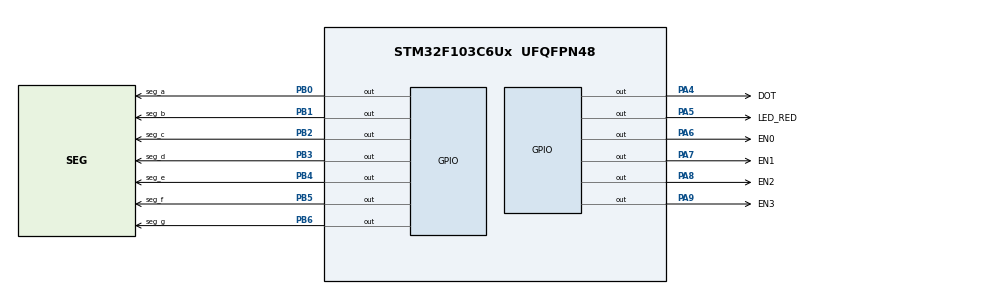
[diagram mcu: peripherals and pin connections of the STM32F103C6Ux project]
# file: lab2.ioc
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Mcu.Family=STM32F1
Mcu.Name=STM32F103C6Ux
Mcu.Package=UFQFPN48
NVIC.PriorityGroup=NVIC_PRIORITYGROUP_4
NVIC.TIM2_IRQn=true\:0\:0\:false\:false\:true\:true\:true
PA4.GPIO_Label=DOT
PA4.Signal=GPIO_Output
PA5.GPIO_Label=LED_RED
PA5.Signal=GPIO_Output
PA6.GPIO_Label=EN0
PA6.Signal=GPIO_Output
PA7.GPIO_Label=EN1
PA7.Signal=GPIO_Output
PA8.GPIO_Label=EN2
PA8.Signal=GPIO_Output
PA9.GPIO_Label=EN3
PA9.Signal=GPIO_Output
PB0.GPIO_Label=seg_a
PB0.Signal=GPIO_Output
PB1.GPIO_Label=seg_b
PB1.Signal=GPIO_Output
PB2.GPIO_Label=seg_c
PB2.Signal=GPIO_Output
PB3.GPIO_Label=seg_d
PB3.Signal=GPIO_Output
PB4.GPIO_Label=seg_e
PB4.Signal=GPIO_Output
PB5.GPIO_Label=seg_f
PB5.Signal=GPIO_Output
PB6.GPIO_Label=seg_g
PB6.Signal=GPIO_Output
ProjectManager.HeapSize=0x200
ProjectManager.StackSize=0x400
ProjectManager.TargetToolchain=STM32CubeIDE
RCC.APB1Freq_Value=8000000
RCC.APB2Freq_Value=8000000
TIM2.Period=9
TIM2.Prescaler=7999
VP_SYS_VS_ND.Mode=No_Debug
VP_TIM2_VS_ClockSourceINT.Mode=Internal
board=custom

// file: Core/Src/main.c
/* USER CODE BEGIN Header */
/**
  ******************************************************************************
  * @file           : main.c
  * @brief          : Main program body
  ******************************************************************************
  * @attention
  *
  * <h2><center>&copy; Copyright (c) 2025 STMicroelectronics.
  * All rights reserved.</center></h2>
  *
  * This software component is licensed by ST under BSD 3-Clause license,
  * the "License"; You may not use this file except in compliance with the
  * License. You may obtain a copy of the License at:
  *                        opensource.org/licenses/BSD-3-Clause
  *
  ******************************************************************************
  */
/* USER CODE END Header */
#include "main.h"

TIM_HandleTypeDef htim2;

void SystemClock_Config(void);
static void MX_GPIO_Init(void);
static void MX_TIM2_Init(void);

int main(void)
{

  /* MCU Configuration--------------------------------------------------------*/

  /* Reset of all peripherals, Initializes the Flash interface and the Systick. */
  HAL_Init();

  /* Configure the system clock */
  SystemClock_Config();

  /* Initialize all configured peripherals */
  MX_GPIO_Init();
  MX_TIM2_Init();
  /* USER CODE BEGIN 2 */
  HAL_TIM_Base_Start_IT (& htim2 ) ;
  /* USER CODE END 2 */

  /* Infinite loop */
  while (1)
  {

  }
}

void SystemClock_Config(void)
{
  RCC_OscInitTypeDef RCC_OscInitStruct = {0};
  RCC_ClkInitTypeDef RCC_ClkInitStruct = {0};

  /** Initializes the RCC Oscillators according to the specified parameters
  * in the RCC_OscInitTypeDef structure.
  */
  RCC_OscInitStruct.OscillatorType = RCC_OSCILLATORTYPE_HSI;
  RCC_OscInitStruct.HSIState = RCC_HSI_ON;
  RCC_OscInitStruct.HSICalibrationValue = RCC_HSICALIBRATION_DEFAULT;
  RCC_OscInitStruct.PLL.PLLState = RCC_PLL_NONE;
  if (HAL_RCC_OscConfig(&RCC_OscInitStruct) != HAL_OK)
  {
    Error_Handler();
  }
  /** Initializes the CPU, AHB and APB buses clocks
  */
  RCC_ClkInitStruct.ClockType = RCC_CLOCKTYPE_HCLK|RCC_CLOCKTYPE_SYSCLK
                              |RCC_CLOCKTYPE_PCLK1|RCC_CLOCKTYPE_PCLK2;
  RCC_ClkInitStruct.SYSCLKSource = RCC_SYSCLKSOURCE_HSI;
  RCC_ClkInitStruct.AHBCLKDivider = RCC_SYSCLK_DIV1;
  RCC_ClkInitStruct.APB1CLKDivider = RCC_HCLK_DIV1;
  RCC_ClkInitStruct.APB2CLKDivider = RCC_HCLK_DIV1;

  if (HAL_RCC_ClockConfig(&RCC_ClkInitStruct, FLASH_LATENCY_0) != HAL_OK)
  {
    Error_Handler();
  }
}

static void MX_TIM2_Init(void)
{

  TIM_ClockConfigTypeDef sClockSourceConfig = {0};
  TIM_MasterConfigTypeDef sMasterConfig = {0};

  htim2.Instance = TIM2;
  htim2.Init.Prescaler = 7999;
  htim2.Init.CounterMode = TIM_COUNTERMODE_UP;
  htim2.Init.Period = 9;
  htim2.Init.ClockDivision = TIM_CLOCKDIVISION_DIV1;
  htim2.Init.AutoReloadPreload = TIM_AUTORELOAD_PRELOAD_DISABLE;
  if (HAL_TIM_Base_Init(&htim2) != HAL_OK)
  {
    Error_Handler();
  }
  sClockSourceConfig.ClockSource = TIM_CLOCKSOURCE_INTERNAL;
  if (HAL_TIM_ConfigClockSource(&htim2, &sClockSourceConfig) != HAL_OK)
  {
    Error_Handler();
  }
  sMasterConfig.MasterOutputTrigger = TIM_TRGO_RESET;
  sMasterConfig.MasterSlaveMode = TIM_MASTERSLAVEMODE_DISABLE;
  if (HAL_TIMEx_MasterConfigSynchronization(&htim2, &sMasterConfig) != HAL_OK)
  {
    Error_Handler();
  }

}

static void MX_GPIO_Init(void)
{
  GPIO_InitTypeDef GPIO_InitStruct = {0};

  /* GPIO Ports Clock Enable */
  __HAL_RCC_GPIOA_CLK_ENABLE();
  __HAL_RCC_GPIOB_CLK_ENABLE();

  /*Configure GPIO pin Output Level */
  HAL_GPIO_WritePin(GPIOA, DOT_Pin|LED_RED_Pin|EN0_Pin|EN1_Pin
                          |EN2_Pin|EN3_Pin, GPIO_PIN_RESET);

  /*Configure GPIO pin Output Level */
  HAL_GPIO_WritePin(GPIOB, seg_a_Pin|seg_b_Pin|seg_c_Pin|seg_d_Pin
                          |seg_e_Pin|seg_f_Pin|seg_g_Pin, GPIO_PIN_RESET);

  /*Configure GPIO pins : DOT_Pin LED_RED_Pin EN0_Pin EN1_Pin
                           EN2_Pin EN3_Pin */
  GPIO_InitStruct.Pin = DOT_Pin|LED_RED_Pin|EN0_Pin|EN1_Pin
                          |EN2_Pin|EN3_Pin;
  GPIO_InitStruct.Mode = GPIO_MODE_OUTPUT_PP;
  GPIO_InitStruct.Pull = GPIO_NOPULL;
  GPIO_InitStruct.Speed = GPIO_SPEED_FREQ_LOW;
  HAL_GPIO_Init(GPIOA, &GPIO_InitStruct);

  /*Configure GPIO pins : seg_a_Pin seg_b_Pin seg_c_Pin seg_d_Pin
                           seg_e_Pin seg_f_Pin seg_g_Pin */
  GPIO_InitStruct.Pin = seg_a_Pin|seg_b_Pin|seg_c_Pin|seg_d_Pin
                          |seg_e_Pin|seg_f_Pin|seg_g_Pin;
  GPIO_InitStruct.Mode = GPIO_MODE_OUTPUT_PP;
  GPIO_InitStruct.Pull = GPIO_NOPULL;
  GPIO_InitStruct.Speed = GPIO_SPEED_FREQ_LOW;
  HAL_GPIO_Init(GPIOB, &GPIO_InitStruct);

}

/* USER CODE BEGIN 4 */
void display7SEG(int num) {
	// First, turn all off
	HAL_GPIO_WritePin(seg_a_GPIO_Port, seg_a_Pin, GPIO_PIN_SET);
	HAL_GPIO_WritePin(seg_b_GPIO_Port, seg_b_Pin, GPIO_PIN_SET);
	HAL_GPIO_WritePin(seg_c_GPIO_Port, seg_c_Pin, GPIO_PIN_SET);
	HAL_GPIO_WritePin(seg_d_GPIO_Port, seg_d_Pin, GPIO_PIN_SET);
	HAL_GPIO_WritePin(seg_e_GPIO_Port, seg_e_Pin, GPIO_PIN_SET);
	HAL_GPIO_WritePin(seg_f_GPIO_Port, seg_f_Pin, GPIO_PIN_SET);
	HAL_GPIO_WritePin(seg_g_GPIO_Port, seg_g_Pin, GPIO_PIN_SET);

	switch (num) {
	  case 0:
		  HAL_GPIO_WritePin(seg_a_GPIO_Port, seg_a_Pin, GPIO_PIN_RESET);
		  HAL_GPIO_WritePin(seg_b_GPIO_Port, seg_b_Pin, GPIO_PIN_RESET);
		  HAL_GPIO_WritePin(seg_c_GPIO_Port, seg_c_Pin, GPIO_PIN_RESET);
		  HAL_GPIO_WritePin(seg_d_GPIO_Port, seg_d_Pin, GPIO_PIN_RESET);
		  HAL_GPIO_WritePin(seg_e_GPIO_Port, seg_e_Pin, GPIO_PIN_RESET);
		  HAL_GPIO_WritePin(seg_f_GPIO_Port, seg_f_Pin, GPIO_PIN_RESET);
		  break;
	  case 1:
		  HAL_GPIO_WritePin(seg_b_GPIO_Port, seg_b_Pin, GPIO_PIN_RESET);
		  HAL_GPIO_WritePin(seg_c_GPIO_Port, seg_c_Pin, GPIO_PIN_RESET);
		  break;
	  case 2:
		  HAL_GPIO_WritePin(seg_a_GPIO_Port, seg_a_Pin, GPIO_PIN_RESET);
		  HAL_GPIO_WritePin(seg_b_GPIO_Port, seg_b_Pin, GPIO_PIN_RESET);
		  HAL_GPIO_WritePin(seg_d_GPIO_Port, seg_d_Pin, GPIO_PIN_RESET);
		  HAL_GPIO_WritePin(seg_e_GPIO_Port, seg_e_Pin, GPIO_PIN_RESET);
		  HAL_GPIO_WritePin(seg_g_GPIO_Port, seg_g_Pin, GPIO_PIN_RESET);
		  break;
	  case 3:
		  HAL_GPIO_WritePin(seg_a_GPIO_Port, seg_a_Pin, GPIO_PIN_RESET);
		  HAL_GPIO_WritePin(seg_b_GPIO_Port, seg_b_Pin, GPIO_PIN_RESET);
		  HAL_GPIO_WritePin(seg_c_GPIO_Port, seg_c_Pin, GPIO_PIN_RESET);
		  HAL_GPIO_WritePin(seg_d_GPIO_Port, seg_d_Pin, GPIO_PIN_RESET);
		  HAL_GPIO_WritePin(seg_g_GPIO_Port, seg_g_Pin, GPIO_PIN_RESET);
		  break;
	  case 4:
		  HAL_GPIO_WritePin(seg_b_GPIO_Port, seg_b_Pin, GPIO_PIN_RESET);
		  HAL_GPIO_WritePin(seg_c_GPIO_Port, seg_c_Pin, GPIO_PIN_RESET);
		  HAL_GPIO_WritePin(seg_f_GPIO_Port, seg_f_Pin, GPIO_PIN_RESET);
		  HAL_GPIO_WritePin(seg_g_GPIO_Port, seg_g_Pin, GPIO_PIN_RESET);
		  break;
	  case 5:
		  HAL_GPIO_WritePin(seg_a_GPIO_Port, seg_a_Pin, GPIO_PIN_RESET);
		  HAL_GPIO_WritePin(seg_c_GPIO_Port, seg_c_Pin, GPIO_PIN_RESET);
		  HAL_GPIO_WritePin(seg_d_GPIO_Port, seg_d_Pin, GPIO_PIN_RESET);
		  HAL_GPIO_WritePin(seg_f_GPIO_Port, seg_f_Pin, GPIO_PIN_RESET);
		  HAL_GPIO_WritePin(seg_g_GPIO_Port, seg_g_Pin, GPIO_PIN_RESET);
		  break;
	  case 6:
		  HAL_GPIO_WritePin(seg_a_GPIO_Port, seg_a_Pin, GPIO_PIN_RESET);
		  HAL_GPIO_WritePin(seg_c_GPIO_Port, seg_c_Pin, GPIO_PIN_RESET);
		  HAL_GPIO_WritePin(seg_d_GPIO_Port, seg_d_Pin, GPIO_PIN_RESET);
		  HAL_GPIO_WritePin(seg_e_GPIO_Port, seg_e_Pin, GPIO_PIN_RESET);
		  HAL_GPIO_WritePin(seg_f_GPIO_Port, seg_f_Pin, GPIO_PIN_RESET);
		  HAL_GPIO_WritePin(seg_g_GPIO_Port, seg_g_Pin, GPIO_PIN_RESET);
		  break;
	  case 7:
		  HAL_GPIO_WritePin(seg_a_GPIO_Port, seg_a_Pin, GPIO_PIN_RESET);
		  HAL_GPIO_WritePin(seg_b_GPIO_Port, seg_b_Pin, GPIO_PIN_RESET);
		  HAL_GPIO_WritePin(seg_c_GPIO_Port, seg_c_Pin, GPIO_PIN_RESET);
		  break;
	  case 8:
		  HAL_GPIO_WritePin(seg_a_GPIO_Port, seg_a_Pin, GPIO_PIN_RESET);
		  HAL_GPIO_WritePin(seg_b_GPIO_Port, seg_b_Pin, GPIO_PIN_RESET);
		  HAL_GPIO_WritePin(seg_c_GPIO_Port, seg_c_Pin, GPIO_PIN_RESET);
		  HAL_GPIO_WritePin(seg_d_GPIO_Port, seg_d_Pin, GPIO_PIN_RESET);
		  HAL_GPIO_WritePin(seg_e_GPIO_Port, seg_e_Pin, GPIO_PIN_RESET);
		  HAL_GPIO_WritePin(seg_f_GPIO_Port, seg_f_Pin, GPIO_PIN_RESET);
		  HAL_GPIO_WritePin(seg_g_GPIO_Port, seg_g_Pin, GPIO_PIN_RESET);
		  break;
	  case 9:
		  HAL_GPIO_WritePin(seg_a_GPIO_Port, seg_a_Pin, GPIO_PIN_RESET);
		  HAL_GPIO_WritePin(seg_b_GPIO_Port, seg_b_Pin, GPIO_PIN_RESET);
		  HAL_GPIO_WritePin(seg_c_GPIO_Port, seg_c_Pin, GPIO_PIN_RESET);
		  HAL_GPIO_WritePin(seg_d_GPIO_Port, seg_d_Pin, GPIO_PIN_RESET);
		  HAL_GPIO_WritePin(seg_f_GPIO_Port, seg_f_Pin, GPIO_PIN_RESET);
		  HAL_GPIO_WritePin(seg_g_GPIO_Port, seg_g_Pin, GPIO_PIN_RESET);
		  break;
	}
}
int counter = 100;
int counter_7seg = 200;
void HAL_TIM_PeriodElapsedCallback ( TIM_HandleTypeDef * htim ){
	counter--;
	counter_7seg--;
	//7seg leds
	if(counter_7seg == 150){
		HAL_GPIO_WritePin(EN0_GPIO_Port, EN0_Pin, GPIO_PIN_RESET);
		HAL_GPIO_WritePin(EN1_GPIO_Port, EN1_Pin, GPIO_PIN_SET);
		HAL_GPIO_WritePin(EN2_GPIO_Port, EN2_Pin, GPIO_PIN_SET);
		HAL_GPIO_WritePin(EN3_GPIO_Port, EN3_Pin, GPIO_PIN_SET);
		display7SEG(1);
	}
	if( counter_7seg == 100) {
		HAL_GPIO_WritePin(EN0_GPIO_Port, EN0_Pin, GPIO_PIN_SET);
		HAL_GPIO_WritePin(EN1_GPIO_Port, EN1_Pin, GPIO_PIN_RESET);
		HAL_GPIO_WritePin(EN2_GPIO_Port, EN2_Pin, GPIO_PIN_SET);
		HAL_GPIO_WritePin(EN3_GPIO_Port, EN3_Pin, GPIO_PIN_SET);
		display7SEG(2);
	}
	if( counter_7seg == 50) {
		HAL_GPIO_WritePin(EN0_GPIO_Port, EN0_Pin, GPIO_PIN_SET);
		HAL_GPIO_WritePin(EN1_GPIO_Port, EN1_Pin, GPIO_PIN_SET);
		HAL_GPIO_WritePin(EN2_GPIO_Port, EN2_Pin, GPIO_PIN_RESET);
		HAL_GPIO_WritePin(EN3_GPIO_Port, EN3_Pin, GPIO_PIN_SET);
		display7SEG(3);
	}
	if( counter_7seg <= 0) {
		counter_7seg = 200;
		HAL_GPIO_WritePin(EN0_GPIO_Port, EN0_Pin, GPIO_PIN_SET);
		HAL_GPIO_WritePin(EN1_GPIO_Port, EN1_Pin, GPIO_PIN_SET);
		HAL_GPIO_WritePin(EN2_GPIO_Port, EN2_Pin, GPIO_PIN_SET);
		HAL_GPIO_WritePin(EN3_GPIO_Port, EN3_Pin, GPIO_PIN_RESET);
		display7SEG(0);
	}
	//led
	if( counter <= 0) {
		counter = 100;
		HAL_GPIO_TogglePin ( LED_RED_GPIO_Port , LED_RED_Pin );
		HAL_GPIO_TogglePin ( DOT_GPIO_Port , DOT_Pin );
	}
}
/* USER CODE END 4 */

void Error_Handler(void)
{
  __disable_irq();
  while (1)
  {
  }
}

/************************ (C) COPYRIGHT STMicroelectronics *****END OF FILE****/
